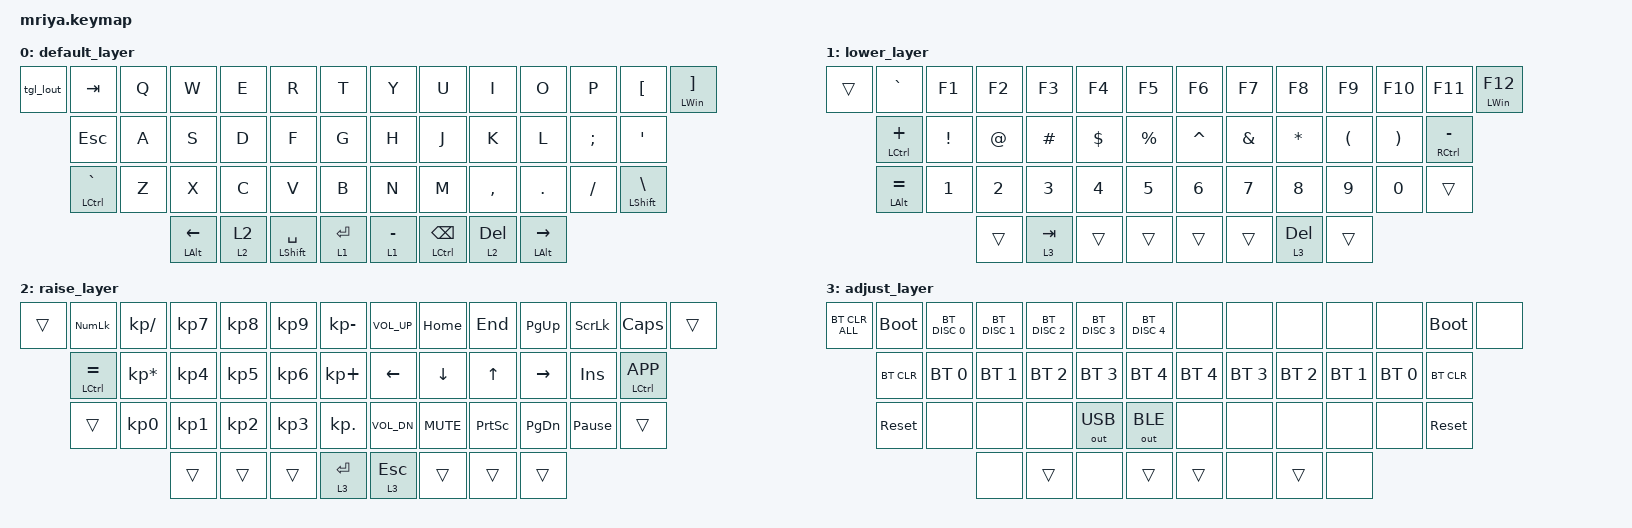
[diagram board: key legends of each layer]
/*
 * Copyright (c) 2023 Andrei Gaevskii
 *
 * SPDX-License-Identifier: MIT
 */

#include <behaviors.dtsi>
#include <dt-bindings/zmk/bt.h>
#include <dt-bindings/zmk/keys.h>
#include <dt-bindings/zmk/outputs.h>

#define DEF 0
#define LWR 1
#define RSE 2
#define ADJ 3

&lt {
    quick_tap_ms = <150>;
    flavor = "hold-preferred";
    tapping-term-ms = <150>;
};

&mt {
    quick_tap_ms = <150>;
    tapping-term-ms = <150>;
};

/ {
    macros {
        tgl_lout: toggle_layout {
            compatible = "zmk,behavior-macro";
            #binding-cells = <0>;
            bindings =
                <&macro_press>,
                <&sk LEFT_WIN>,
                <&macro_tap>,
                <&kp SPACE>,
                <&macro_release>,
                <&kp LEFT_WIN>;

            label = "TOGGLE_LAYOUT";
        };
    };

    behaviors {
        lht: lht {
            compatible = "zmk,behavior-hold-tap";
            label = "Layer hold-tap";
            bindings = <&mo>, <&tog>;

            #binding-cells = <2>;
            tapping-term-ms = <150>;
        };

        mt_inst: mt_inst {
            compatible = "zmk,behavior-hold-tap";
            label = "Mod-tap instant";
            bindings = <&kp>, <&kp>;

            #binding-cells = <2>;
            tapping-term-ms = <150>;
            quick-tap-ms = <150>;
            hold-while-undecided;
        };
    };

    keymap {
        compatible = "zmk,keymap";

        default_layer {
            bindings = <
&tgl_lout  &kp TAB               &kp Q  &kp W                         &kp E     &kp R                      &kp T        &kp Y        &kp U           &kp I      &kp O                     &kp P     &kp LEFT_BRACKET     &mt LEFT_WIN RBKT
           &kp ESC               &kp A  &kp S                         &kp D     &kp F                      &kp G        &kp H        &kp J           &kp K      &kp L                     &kp SEMI  &kp SQT
           &mt_inst LCTRL GRAVE  &kp Z  &kp X                         &kp C     &kp V                      &kp B        &kp N        &kp M           &kp COMMA  &kp DOT                   &kp FSLH  &mt LEFT_SHIFT BSLH
                                        &mt_inst LEFT_ALT LEFT_ARROW  &lht 2 2  &mt_inst LEFT_SHIFT SPACE  &lt 1 RET    &lt 1 MINUS  &mt LCTRL BSPC  &lt 2 DEL  &mt LEFT_ALT RIGHT_ARROW
            >;
        };

        lower_layer {
            bindings = <
&trans  &kp GRAVE       &kp F1    &kp F2  &kp F3     &kp F4    &kp F5       &kp F6     &kp F7    &kp F8     &kp F9    &kp F10   &kp F11          &mt LEFT_WIN F12
        &mt LCTRL PLUS  &kp EXCL  &kp AT  &kp HASH   &kp DLLR  &kp PRCNT    &kp CARET  &kp AMPS  &kp STAR   &kp LPAR  &kp RPAR  &mt RCTRL MINUS
        &mt LALT EQUAL  &kp N1    &kp N2  &kp N3     &kp N4    &kp N5       &kp N6     &kp N7    &kp N8     &kp N9    &kp N0    &trans
                                  &trans  &lt 3 TAB  &trans    &trans       &trans     &trans    &lt 3 DEL  &trans
            >;
        };

        raise_layer {
            bindings = <
&trans  &kp KP_NUM       &kp KP_SLASH     &kp KP_N7  &kp KP_N8  &kp KP_N9  &kp KP_MINUS    &kp C_VOL_UP    &kp HOME        &kp END          &kp PG_UP  &kp SLCK         &kp CAPS         &trans
        &mt LCTRL EQUAL  &kp KP_MULTIPLY  &kp KP_N4  &kp KP_N5  &kp KP_N6  &kp KP_PLUS     &kp LEFT_ARROW  &kp DOWN_ARROW  &kp UP_ARROW     &kp RIGHT  &kp INS          &mt LCTRL K_APP
        &trans           &kp KP_N0        &kp KP_N1  &kp KP_N2  &kp KP_N3  &kp KP_DOT      &kp C_VOL_DN    &kp K_MUTE      &kp PRINTSCREEN  &kp PG_DN  &kp PAUSE_BREAK  &trans
                                          &trans     &trans     &trans     &lt 3 RET       &lt 3 ESC       &trans          &trans           &trans
            >;
        };

        adjust_layer {
            bindings = <
&bt BT_CLR_ALL  &bootloader  &bt BT_DISC 0  &bt BT_DISC 1  &bt BT_DISC 2  &bt BT_DISC 3  &bt BT_DISC 4    &none         &none         &none         &none         &none         &bootloader  &none
                &bt BT_CLR   &bt BT_SEL 0   &bt BT_SEL 1   &bt BT_SEL 2   &bt BT_SEL 3   &bt BT_SEL 4     &bt BT_SEL 4  &bt BT_SEL 3  &bt BT_SEL 2  &bt BT_SEL 1  &bt BT_SEL 0  &bt BT_CLR
                &sys_reset   &none          &none          &none          &out OUT_USB   &out OUT_BLE     &none         &none         &none         &none         &none         &sys_reset
                                            &none          &trans         &none          &trans           &trans        &none         &trans        &none
            >;
        };
    };
};
